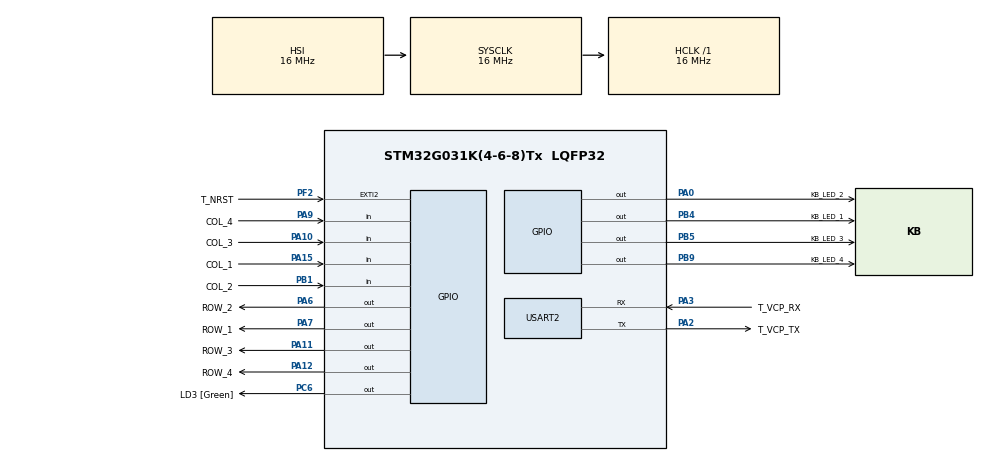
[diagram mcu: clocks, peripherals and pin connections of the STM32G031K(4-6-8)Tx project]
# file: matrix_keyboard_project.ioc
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Mcu.Family=STM32G0
Mcu.Name=STM32G031K(4-6-8)Tx
Mcu.Package=LQFP32
PA0.GPIO_Label=KB_LED_2
PA0.Signal=GPIO_Output
PA10.GPIO_Label=COL_3
PA10.GPIO_PuPd=GPIO_PULLUP
PA10.Signal=GPIO_Input
PA11\ [PA9].GPIO_Label=ROW_3
PA11\ [PA9].GPIO_PuPd=GPIO_PULLDOWN
PA11\ [PA9].Signal=GPIO_Output
PA12\ [PA10].GPIO_Label=ROW_4
PA12\ [PA10].GPIO_PuPd=GPIO_PULLDOWN
PA12\ [PA10].Signal=GPIO_Output
PA13.GPIO_Label=T_JTMS
PA13.Mode=Serial_Wire
PA13.Signal=SYS_SWDIO
PA14-BOOT0.GPIO_Label=T_JTCK
PA14-BOOT0.Mode=Serial_Wire
PA14-BOOT0.Signal=SYS_SWCLK
PA15.GPIO_Label=COL_1
PA15.GPIO_PuPd=GPIO_PULLDOWN
PA15.Signal=GPIO_Input
PA2.GPIO_Label=T_VCP_TX
PA2.Mode=Asynchronous
PA2.Signal=USART2_TX
PA3.GPIO_Label=T_VCP_RX
PA3.Mode=Asynchronous
PA3.Signal=USART2_RX
PA6.GPIO_Label=ROW_2
PA6.GPIO_PuPd=GPIO_PULLDOWN
PA6.Signal=GPIO_Output
PA7.GPIO_Label=ROW_1
PA7.GPIO_PuPd=GPIO_PULLDOWN
PA7.Signal=GPIO_Output
PA9.GPIO_Label=COL_4
PA9.GPIO_PuPd=GPIO_PULLUP
PA9.Signal=GPIO_Input
PB1.GPIO_Label=COL_2
PB1.GPIO_PuPd=GPIO_PULLUP
PB1.Signal=GPIO_Input
PB4.GPIO_Label=KB_LED_1
PB4.Signal=GPIO_Output
PB5.GPIO_Label=KB_LED_3
PB5.Signal=GPIO_Output
PB9.GPIO_Label=KB_LED_4
PB9.Signal=GPIO_Output
PC14-OSC32_IN\ (PC14).Signal=RCC_OSC32_IN
PC15-OSC32_OUT\ (PC15).Signal=RCC_OSC32_OUT
PC6.GPIO_Label=LD3 [Green]
PC6.Signal=GPIO_Output
PF2\ -\ NRST.GPIO_Label=T_NRST
PF2\ -\ NRST.Signal=GPXTI2
ProjectManager.HeapSize=0x200
ProjectManager.StackSize=0x400
ProjectManager.TargetToolchain=STM32CubeIDE
RCC.AHBFreq_Value=16000000
RCC.CortexFreq_Value=16000000
RCC.EXTERNAL_CLOCK_VALUE=12288000
RCC.HCLKFreq_Value=16000000
RCC.HSE_VALUE=8000000
RCC.HSI_VALUE=16000000
RCC.LSE_VALUE=32768
RCC.SYSCLKFreq_VALUE=16000000
RCC.VCOOutputFreq_Value=128000000
USART2.VirtualMode-Asynchronous=VM_ASYNC
board=NUCLEO-G031K8

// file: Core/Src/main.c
/* USER CODE BEGIN Header */
/**
  ******************************************************************************
  * @file           : main.c
  * @brief          : Main program body
  ******************************************************************************
  * @attention
  *
  * Copyright (c) 2022 STMicroelectronics.
  * All rights reserved.
  *
  * This software is licensed under terms that can be found in the LICENSE file
  * in the root directory of this software component.
  * If no LICENSE file comes with this software, it is provided AS-IS.
  *
  ******************************************************************************
  */
/* USER CODE END Header */
#include "main.h"

/* USER CODE BEGIN Includes */
#include <stdio.h>
#include "retarget.h"
/* USER CODE END Includes */

UART_HandleTypeDef huart2;

void SystemClock_Config(void);
static void MX_GPIO_Init(void);
static void MX_USART2_UART_Init(void);

int main(void)
{

  /* MCU Configuration--------------------------------------------------------*/

  /* Reset of all peripherals, Initializes the Flash interface and the Systick. */
  HAL_Init();

  /* Configure the system clock */
  SystemClock_Config();

  /* Initialize all configured peripherals */
  MX_GPIO_Init();
  MX_USART2_UART_Init();
  /* USER CODE BEGIN 2 */
  RetargetInit(&huart2);
  /* USER CODE END 2 */

  /* Infinite loop */
  /* USER CODE BEGIN WHILE */
  printf("Status of COLS: \r\n");
  while (1)
  {
	  printf("COL: 1 => %d\r\n",HAL_GPIO_ReadPin(COL_1_GPIO_Port, COL_1_Pin));
	  printf("COL: 2 => %d\r\n",HAL_GPIO_ReadPin(COL_2_GPIO_Port, COL_2_Pin));
	  printf("COL: 3 => %d\r\n",HAL_GPIO_ReadPin(COL_3_GPIO_Port, COL_3_Pin));
	  printf("COL: 4 => %d\r\n",HAL_GPIO_ReadPin(COL_4_GPIO_Port, COL_4_Pin));
	  HAL_Delay(500);

	  HAL_GPIO_TogglePin(KB_LED_1_GPIO_Port, KB_LED_1_Pin);
	  HAL_GPIO_TogglePin(KB_LED_2_GPIO_Port, KB_LED_2_Pin);
	  HAL_GPIO_TogglePin(KB_LED_3_GPIO_Port, KB_LED_3_Pin);
	  HAL_GPIO_TogglePin(KB_LED_4_GPIO_Port, KB_LED_4_Pin);
#if 0
	  printf("ROW: 1 => %d\r\n",HAL_GPIO_ReadPin(ROW_1_GPIO_Port, ROW_1_Pin));
	  printf("ROW: 2 => %d\r\n",HAL_GPIO_ReadPin(ROW_2_GPIO_Port, ROW_2_Pin));
	  printf("ROW: 3 => %d\r\n",HAL_GPIO_ReadPin(ROW_3_GPIO_Port, ROW_3_Pin));
	  printf("ROW: 4 => %d\r\n",HAL_GPIO_ReadPin(ROW_4_GPIO_Port, ROW_4_Pin));
	  HAL_Delay(500);
#endif
    /* USER CODE END WHILE */

  }
}

void SystemClock_Config(void)
{
  RCC_OscInitTypeDef RCC_OscInitStruct = {0};
  RCC_ClkInitTypeDef RCC_ClkInitStruct = {0};

  /** Configure the main internal regulator output voltage
  */
  HAL_PWREx_ControlVoltageScaling(PWR_REGULATOR_VOLTAGE_SCALE1);

  /** Initializes the RCC Oscillators according to the specified parameters
  * in the RCC_OscInitTypeDef structure.
  */
  RCC_OscInitStruct.OscillatorType = RCC_OSCILLATORTYPE_HSI;
  RCC_OscInitStruct.HSIState = RCC_HSI_ON;
  RCC_OscInitStruct.HSIDiv = RCC_HSI_DIV1;
  RCC_OscInitStruct.HSICalibrationValue = RCC_HSICALIBRATION_DEFAULT;
  RCC_OscInitStruct.PLL.PLLState = RCC_PLL_NONE;
  if (HAL_RCC_OscConfig(&RCC_OscInitStruct) != HAL_OK)
  {
    Error_Handler();
  }

  /** Initializes the CPU, AHB and APB buses clocks
  */
  RCC_ClkInitStruct.ClockType = RCC_CLOCKTYPE_HCLK|RCC_CLOCKTYPE_SYSCLK
                              |RCC_CLOCKTYPE_PCLK1;
  RCC_ClkInitStruct.SYSCLKSource = RCC_SYSCLKSOURCE_HSI;
  RCC_ClkInitStruct.AHBCLKDivider = RCC_SYSCLK_DIV1;
  RCC_ClkInitStruct.APB1CLKDivider = RCC_HCLK_DIV1;

  if (HAL_RCC_ClockConfig(&RCC_ClkInitStruct, FLASH_LATENCY_0) != HAL_OK)
  {
    Error_Handler();
  }
}

static void MX_USART2_UART_Init(void)
{

  huart2.Instance = USART2;
  huart2.Init.BaudRate = 115200;
  huart2.Init.WordLength = UART_WORDLENGTH_8B;
  huart2.Init.StopBits = UART_STOPBITS_1;
  huart2.Init.Parity = UART_PARITY_NONE;
  huart2.Init.Mode = UART_MODE_TX_RX;
  huart2.Init.HwFlowCtl = UART_HWCONTROL_NONE;
  huart2.Init.OverSampling = UART_OVERSAMPLING_16;
  huart2.Init.OneBitSampling = UART_ONE_BIT_SAMPLE_DISABLE;
  huart2.Init.ClockPrescaler = UART_PRESCALER_DIV1;
  huart2.AdvancedInit.AdvFeatureInit = UART_ADVFEATURE_NO_INIT;
  if (HAL_UART_Init(&huart2) != HAL_OK)
  {
    Error_Handler();
  }

}

static void MX_GPIO_Init(void)
{
  GPIO_InitTypeDef GPIO_InitStruct = {0};

  /* GPIO Ports Clock Enable */
  __HAL_RCC_GPIOB_CLK_ENABLE();
  __HAL_RCC_GPIOC_CLK_ENABLE();
  __HAL_RCC_GPIOF_CLK_ENABLE();
  __HAL_RCC_GPIOA_CLK_ENABLE();

  /*Configure GPIO pin Output Level */
  HAL_GPIO_WritePin(GPIOB, KB_LED_4_Pin|KB_LED_1_Pin|KB_LED_3_Pin, GPIO_PIN_RESET);

  /*Configure GPIO pin Output Level */
  HAL_GPIO_WritePin(GPIOA, KB_LED_2_Pin|ROW_2_Pin|ROW_1_Pin|ROW_3_Pin
                          |ROW_4_Pin, GPIO_PIN_RESET);

  /*Configure GPIO pin Output Level */
  HAL_GPIO_WritePin(LD3_GPIO_Port, LD3_Pin, GPIO_PIN_RESET);

  /*Configure GPIO pins : KB_LED_4_Pin KB_LED_1_Pin KB_LED_3_Pin */
  GPIO_InitStruct.Pin = KB_LED_4_Pin|KB_LED_1_Pin|KB_LED_3_Pin;
  GPIO_InitStruct.Mode = GPIO_MODE_OUTPUT_PP;
  GPIO_InitStruct.Pull = GPIO_NOPULL;
  GPIO_InitStruct.Speed = GPIO_SPEED_FREQ_LOW;
  HAL_GPIO_Init(GPIOB, &GPIO_InitStruct);

  /*Configure GPIO pin : T_NRST_Pin */
  GPIO_InitStruct.Pin = T_NRST_Pin;
  GPIO_InitStruct.Mode = GPIO_MODE_IT_RISING;
  GPIO_InitStruct.Pull = GPIO_NOPULL;
  HAL_GPIO_Init(T_NRST_GPIO_Port, &GPIO_InitStruct);

  /*Configure GPIO pin : KB_LED_2_Pin */
  GPIO_InitStruct.Pin = KB_LED_2_Pin;
  GPIO_InitStruct.Mode = GPIO_MODE_OUTPUT_PP;
  GPIO_InitStruct.Pull = GPIO_NOPULL;
  GPIO_InitStruct.Speed = GPIO_SPEED_FREQ_LOW;
  HAL_GPIO_Init(KB_LED_2_GPIO_Port, &GPIO_InitStruct);

  /*Configure GPIO pins : ROW_2_Pin ROW_1_Pin ROW_3_Pin ROW_4_Pin */
  GPIO_InitStruct.Pin = ROW_2_Pin|ROW_1_Pin|ROW_3_Pin|ROW_4_Pin;
  GPIO_InitStruct.Mode = GPIO_MODE_OUTPUT_PP;
  GPIO_InitStruct.Pull = GPIO_PULLDOWN;
  GPIO_InitStruct.Speed = GPIO_SPEED_FREQ_LOW;
  HAL_GPIO_Init(GPIOA, &GPIO_InitStruct);

  /*Configure GPIO pin : COL_2_Pin */
  GPIO_InitStruct.Pin = COL_2_Pin;
  GPIO_InitStruct.Mode = GPIO_MODE_INPUT;
  GPIO_InitStruct.Pull = GPIO_PULLUP;
  HAL_GPIO_Init(COL_2_GPIO_Port, &GPIO_InitStruct);

  /*Configure GPIO pins : COL_4_Pin COL_3_Pin */
  GPIO_InitStruct.Pin = COL_4_Pin|COL_3_Pin;
  GPIO_InitStruct.Mode = GPIO_MODE_INPUT;
  GPIO_InitStruct.Pull = GPIO_PULLUP;
  HAL_GPIO_Init(GPIOA, &GPIO_InitStruct);

  /*Configure GPIO pin : LD3_Pin */
  GPIO_InitStruct.Pin = LD3_Pin;
  GPIO_InitStruct.Mode = GPIO_MODE_OUTPUT_PP;
  GPIO_InitStruct.Pull = GPIO_NOPULL;
  GPIO_InitStruct.Speed = GPIO_SPEED_FREQ_LOW;
  HAL_GPIO_Init(LD3_GPIO_Port, &GPIO_InitStruct);

  /*Configure GPIO pin : COL_1_Pin */
  GPIO_InitStruct.Pin = COL_1_Pin;
  GPIO_InitStruct.Mode = GPIO_MODE_INPUT;
  GPIO_InitStruct.Pull = GPIO_PULLDOWN;
  HAL_GPIO_Init(COL_1_GPIO_Port, &GPIO_InitStruct);

}

void Error_Handler(void)
{
  __disable_irq();
  while (1)
  {
  }
}
